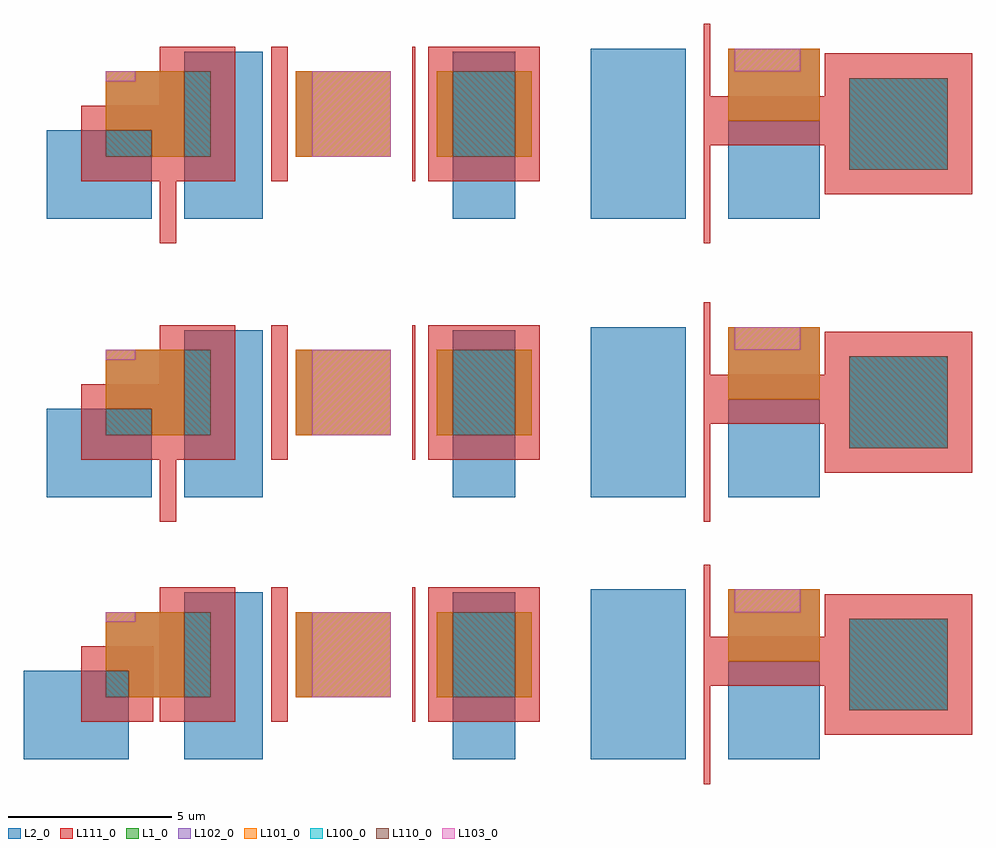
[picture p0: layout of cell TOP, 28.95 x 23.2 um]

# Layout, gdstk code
import gdstk
lib = gdstk.Library(unit=1e-6, precision=1e-09)
def R(c, l, rs):  # rectangles x0, y0, x1, y1
    for r in rs: c.add(gdstk.rectangle(r[:2], r[2:], *l))
def P(c, l, *ps):  # polygons
    for p in ps: c.add(gdstk.Polygon(p, *l))
L1_0 = (1, 0)
L2_0 = (2, 0)
L100_0 = (100, 0)
L101_0 = (101, 0)
L102_0 = (102, 0)
L103_0 = (103, 0)
L110_0 = (110, 0)
L111_0 = (111, 0)

child1 = lib.new_cell('CHILD1')
R(child1, L1_0, [(22.7,0,25.7,2.8), (0,0.4,3.2,3), (5.8,0.4,8.7,3), (10.1,0.4,13,3), (19,1.5,21.8,3.7)])
R(child1, L100_0, [(22.7,0,25.7,2.8), (0,0.4,0.7,1.2), (2.4,0.4,3.2,3), (10.6,0.4,12.5,3)])
R(child1, L101_0, [(5.8,0.4,8.7,3), (10.1,0.4,10.6,3), (12.5,0.4,13,3), (19,1.5,21.8,3.7)])
P(child1, L101_0, [(1.4,0.4),(1.4,1.2),(0,1.2),(0,3),(2.4,3),(2.4,0.4)])
R(child1, L102_0, [(22.7,0,25.7,2.8), (5.8,0.4,6.3,3), (10.1,0.4,13,3)])
P(child1, L102_0, [(19,1.5),(19,3.7),(19.2,3.7),(19.2,3),(21.2,3),(21.2,3.7),(21.8,3.7),(21.8,1.5)],
  [(0,0.4),(0,2.7),(0.9,2.7),(0.9,3),(3.2,3),(3.2,0.4)])
R(child1, L103_0, [(6.3,0.4,8.7,3), (0,2.7,0.9,3), (19.2,3,21.2,3.7)])
R(child1, L110_0, [(22.7,0,25.7,2.8), (0,0.4,0.7,1.2), (2.4,0.4,3.2,3), (10.6,0.4,12.5,3)])
R(child1, L111_0, [(-0.75,-0.35,1.45,1.95), (1.65,-0.35,3.95,3.75), (5.05,-0.35,5.55,3.75), (9.35,-0.35,9.45,3.75), (9.85,-0.35,13.25,3.75)])
P(child1, L111_0, [(18.25,-2.25),(18.25,4.45),(18.45,4.45),(18.45,2.25),(21.95,2.25),(21.95,3.55),(26.45,3.55),(26.45,-0.75),(21.95,-0.75),(21.95,0.75),(18.45,0.75),(18.45,-2.25)])

subcell = lib.new_cell('SUBCELL')
R(subcell, L2_0, [(0,0,3.2,2.7), (4.9,0,7.3,5.1), (13.1,0,15,5.1), (17.3,0,20.2,5.2), (21.5,0,24.3,3), (25.2,1.5,28.2,4.3), (0.7,8,3.9,10.7), (4.9,8,7.3,13.1), (13.1,8,15,13.1), (17.3,8,20.2,13.2), (21.5,8,24.3,11), (25.2,9.5,28.2,12.3)])
R(subcell, L100_0, [(3.2,9.9,3.9,10.7)])
R(subcell, L101_0, [(3.2,1.9,3.9,2.7)])
R(subcell, L110_0, [(3.2,9.9,3.9,10.7)])
R(subcell, L111_0, [(20.75,-0.75,20.95,3.75), (24.45,0.75,25.05,3.75), (4.15,7.25,4.65,11.45), (4.15,7.25,4.65,9.15), (20.75,7.25,20.95,11.75), (24.45,8.75,25.05,11.75), (3.95,9.15,4.15,11.45)])
subcell.add(gdstk.Reference(child1, (2.5,1.5)))
subcell.add(gdstk.Reference(child1, (2.5,9.5)))

top = lib.new_cell('TOP')
R(top, L2_0, [(0,16.5,3.2,19.2), (4.2,16.5,6.6,21.6), (12.4,16.5,14.3,21.6), (16.6,16.5,19.5,21.7), (20.8,16.5,23.6,19.5), (24.5,18,27.5,20.8)])
R(top, L100_0, [(2.5,18.4,3.2,19.2)])
R(top, L110_0, [(2.5,18.4,3.2,19.2)])
R(top, L111_0, [(3.45,15.75,3.95,19.95), (3.45,15.75,3.95,17.65), (20.05,15.75,20.25,20.25), (23.75,17.25,24.35,20.25), (3.25,17.65,3.45,19.95)])
top.add(gdstk.Reference(child1, (1.8,18)))
top.add(gdstk.Reference(subcell, (-0.7,0)))

lib.write_gds('TOP.gds')
